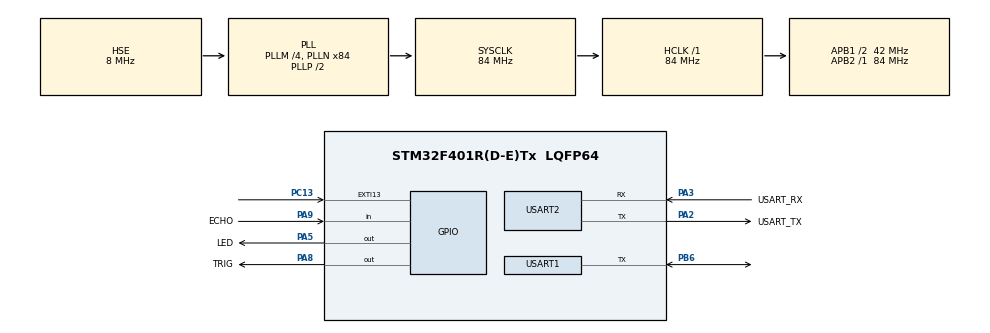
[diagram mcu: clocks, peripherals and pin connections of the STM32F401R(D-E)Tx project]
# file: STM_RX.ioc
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Mcu.Family=STM32F4
Mcu.Name=STM32F401R(D-E)Tx
Mcu.Package=LQFP64
NVIC.EXTI15_10_IRQn=true\:0\:0\:false\:false\:true\:true\:true\:true
NVIC.PriorityGroup=NVIC_PRIORITYGROUP_0
PA13.GPIO_Label=TMS
PA13.Mode=Serial_Wire
PA13.Signal=SYS_JTMS-SWDIO
PA14.GPIO_Label=TCK
PA14.Mode=Serial_Wire
PA14.Signal=SYS_JTCK-SWCLK
PA2.GPIO_Label=USART_TX
PA2.GPIO_Mode=GPIO_MODE_AF_PP
PA2.GPIO_PuPd=GPIO_NOPULL
PA2.GPIO_Speed=GPIO_SPEED_FREQ_LOW
PA2.Mode=Asynchronous
PA2.Signal=USART2_TX
PA3.GPIO_Label=USART_RX
PA3.GPIO_Mode=GPIO_MODE_AF_PP
PA3.GPIO_PuPd=GPIO_NOPULL
PA3.GPIO_Speed=GPIO_SPEED_FREQ_LOW
PA3.Mode=Asynchronous
PA3.Signal=USART2_RX
PA5.GPIO_Label=LED
PA5.GPIO_Mode=GPIO_MODE_OUTPUT_PP
PA5.GPIO_PuPd=GPIO_NOPULL
PA5.GPIO_Speed=GPIO_SPEED_FREQ_LOW
PA5.Signal=GPIO_Output
PA8.GPIO_Label=TRIG
PA8.Signal=GPIO_Output
PA9.GPIO_Label=ECHO
PA9.Signal=GPIO_Input
PB3.GPIO_Label=SWO
PB3.Signal=SYS_JTDO-SWO
PB6.GPIO_PuPd=GPIO_PULLUP
PB6.Mode=Half_duplex(single_wire_mode)
PB6.Signal=USART1_TX
PC13-ANTI_TAMP.GPIO_ModeDefaultEXTI=GPIO_MODE_IT_RISING
PC13-ANTI_TAMP.GPIO_PuPd=GPIO_PULLUP
PC13-ANTI_TAMP.Signal=GPXTI13
PC14-OSC32_IN.Signal=RCC_OSC32_IN
PC15-OSC32_OUT.Signal=RCC_OSC32_OUT
PH0\ -\ OSC_IN.Mode=HSE-External-Clock-Source
PH0\ -\ OSC_IN.Signal=RCC_OSC_IN
PH1\ -\ OSC_OUT.Mode=HSE-External-Clock-Source
PH1\ -\ OSC_OUT.Signal=RCC_OSC_OUT
ProjectManager.HeapSize=0x200
ProjectManager.StackSize=0x400
ProjectManager.TargetToolchain=STM32CubeIDE
RCC.48MHZClocksFreq_Value=24000000
RCC.AHBFreq_Value=84000000
RCC.APB1CLKDivider=RCC_HCLK_DIV2
RCC.APB1Freq_Value=42000000
RCC.APB1TimFreq_Value=84000000
RCC.APB2Freq_Value=84000000
RCC.APB2TimFreq_Value=84000000
RCC.CortexFreq_Value=84000000
RCC.HCLKFreq_Value=84000000
RCC.HSE_VALUE=8000000
RCC.HSI_VALUE=16000000
RCC.PLLM=4
RCC.PLLN=84
RCC.PLLQ=7
RCC.PLLSourceVirtual=RCC_PLLSOURCE_HSE
RCC.SYSCLKFreq_VALUE=84000000
RCC.SYSCLKSource=RCC_SYSCLKSOURCE_PLLCLK
RCC.VCOOutputFreq_Value=168000000
TIM4.Period=0
TIM4.Prescaler=84-1
USART1.VirtualMode=VM_ASYNC
USART2.VirtualMode=VM_ASYNC
VP_TIM4_VS_ClockSourceINT.Mode=Internal
board=NUCLEO-F401RE

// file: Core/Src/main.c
/* USER CODE BEGIN Header */
/**
 ******************************************************************************
 * @file           : main.c
 * @brief          : Main program body
 ******************************************************************************
 * @attention
 *
 * Copyright (c) 2024 STMicroelectronics.
 * All rights reserved.
 *
 * This software is licensed under terms that can be found in the LICENSE file
 * in the root directory of this software component.
 * If no LICENSE file comes with this software, it is provided AS-IS.
 *
 ******************************************************************************
 */
/* USER CODE END Header */
#include "main.h"
#include "stdio.h"
#include "stm32f4xx_hal.h"

#define usTIM TIM4

TIM_HandleTypeDef htim4;

UART_HandleTypeDef huart1;
UART_HandleTypeDef huart2;

uint8_t RxData[30];

int indx = 0;

uint8_t TxData[25];

int isClicked = 0;

void SystemClock_Config(void);
static void MX_GPIO_Init(void);
static void MX_USART2_UART_Init(void);
static void MX_TIM4_Init(void);
static void MX_USART1_UART_Init(void);

void usDelay(uint32_t uSec);

const float speedOfSound = 0.0343 / 2;

charuartBuf[100];

float currentDistance = 0.0f;

void HAL_UARTEx_RxEventCallback(UART_HandleTypeDef *huart, uint16_t Size) {

	HAL_UARTEx_ReceiveToIdle_IT(&huart1, RxData, 30);

}
void HAL_GPIO_EXTI_Callback(uint16_t GPIO_Pin) {
	if (GPIO_Pin == GPIO_PIN_13) {
		// Keep the button press logic intact if you need it elsewhere
		if (isClicked == 0) {
			isClicked = 1;
		}
	}

	// Replace the button logic with distance logic
	//if (currentDistance < 20.0f && isClicked == 0) {
	//isClicked = 1;  // Set to 1 when the condition is met
	//}

	//shaivi added code//

	/*if (currentDistance >= 20.0f && currentDistance < 40.0f
	 && isClicked == 0) {
	 isClicked = 2; // led off
	 }

	 else if (currentDistance >= 40.0f && currentDistance < 60.0f
	 && isClicked == 0) {
	 isClicked = 3; // fan on
	 }

	 else if (currentDistance >= 60.0f && currentDistance < 80.0f
	 && isClicked == 0) {
	 isClicked = 4; // fan off
	 }

	 else if (currentDistance >= 80.0f && currentDistance < 100.0f
	 && isClicked == 0) {
	 isClicked = 5; // door open
	 }

	 else if (currentDistance >= 100.0f && currentDistance < 120.0f
	 && isClicked == 0) {
	 isClicked = 6; // door close
	 }*/
}

int main(void) {

	/* MCU Configuration--------------------------------------------------------*/

	/* Reset of all peripherals, Initializes the Flash interface and the Systick. */
	HAL_Init();

	/* Configure the system clock */
	SystemClock_Config();

	/* Initialize all configured peripherals */
	MX_GPIO_Init();
	MX_USART2_UART_Init();
	MX_TIM4_Init();
	MX_USART1_UART_Init();

	/* USER CODE BEGIN 2 */

	HAL_HalfDuplex_EnableReceiver(&huart1);

	HAL_UARTEx_ReceiveToIdle_IT(&huart1, RxData, 30);

	/* USER CODE END 2 */

	/* Infinite loop */

	/* USER CODE BEGIN WHILE */

	while (1) {
		// Measure distance
		HAL_GPIO_WritePin(TRIG_GPIO_Port, TRIG_Pin, GPIO_PIN_RESET);
		usDelay(3);
		HAL_GPIO_WritePin(TRIG_GPIO_Port, TRIG_Pin, GPIO_PIN_SET);
		usDelay(10);
		HAL_GPIO_WritePin(TRIG_GPIO_Port, TRIG_Pin, GPIO_PIN_RESET);

		// Wait for the echo signal
		while (HAL_GPIO_ReadPin(ECHO_GPIO_Port, ECHO_Pin) == GPIO_PIN_RESET)
			;
		uint32_t numTicks = 0;
		while (HAL_GPIO_ReadPin(ECHO_GPIO_Port, ECHO_Pin) == GPIO_PIN_SET) {
			numTicks++;
			usDelay(2);
		}

		// Calculate distance
		currentDistance = (numTicks * 2.8 * 0.0343) / 2.0;

		// Trigger actions based on distance range
		if (isClicked == 0) {  // Only trigger if no action is in progress
			if (currentDistance < 20.0f) {
				isClicked = 1;  // Trigger logic for LED ON
			} else if (currentDistance >= 20.0f && currentDistance < 40.0f) {
				isClicked = 2;  // Trigger logic for LED OFF
			} else if (currentDistance >= 40.0f && currentDistance < 60.0f) {
				isClicked = 3;  // Trigger logic for FAN ON
			} else if (currentDistance >= 60.0f && currentDistance < 80.0f) {
				isClicked = 4;  // Trigger logic for FAN OFF
			} else if (currentDistance >= 80.0f && currentDistance < 100.0f) {
				isClicked = 5;  // Trigger logic for DOOR OPEN
			} else if (currentDistance >= 100.0f && currentDistance < 120.0f) {
				isClicked = 6;  // Trigger logic for DOOR CLOSE
			}
		}

		// Check and act if `isClicked` is set
		if (isClicked == 1) {
			// Transmit signal and perform action (LED ON)
			int len = sprintf((char*) TxData, "LED_ON");
			HAL_HalfDuplex_EnableTransmitter(&huart1);
			HAL_UART_Transmit(&huart1, TxData, len, 1000);
			HAL_HalfDuplex_EnableReceiver(&huart1);

			// Provide feedback with an LED
			HAL_GPIO_WritePin(GPIOA, LED_Pin, GPIO_PIN_SET);
			HAL_Delay(200);
			HAL_GPIO_WritePin(GPIOA, LED_Pin, GPIO_PIN_RESET);

			// Reset `isClicked` for the next trigger
			isClicked = 0;  // Allow the next action to be triggered
		} else if (isClicked == 2) {
			// Transmit signal and perform action (LED OFF)
			int len = sprintf((char*) TxData, "LED_OFF");
			HAL_HalfDuplex_EnableTransmitter(&huart1);
			HAL_UART_Transmit(&huart1, TxData, len, 1000);
			HAL_HalfDuplex_EnableReceiver(&huart1);

			// Provide feedback with an LED
			HAL_GPIO_WritePin(GPIOA, LED_Pin, GPIO_PIN_SET);
			HAL_Delay(200);
			HAL_GPIO_WritePin(GPIOA, LED_Pin, GPIO_PIN_RESET);

			// Reset `isClicked` for the next trigger
			isClicked = 0;
		} else if (isClicked == 3) {
			// Transmit signal and perform action (FAN ON)
			int len = sprintf((char*) TxData, "FAN_ON");
			HAL_HalfDuplex_EnableTransmitter(&huart1);
			HAL_UART_Transmit(&huart1, TxData, len, 1000);
			HAL_HalfDuplex_EnableReceiver(&huart1);

			// Provide feedback with an LED
			HAL_GPIO_WritePin(GPIOA, LED_Pin, GPIO_PIN_SET);
			HAL_Delay(200);
			HAL_GPIO_WritePin(GPIOA, LED_Pin, GPIO_PIN_RESET);

			// Reset `isClicked` for the next trigger
			isClicked = 0;
		} else if (isClicked == 4) {
			// Transmit signal and perform action (FAN OFF)
			int len = sprintf((char*) TxData, "FAN_OFF");
			HAL_HalfDuplex_EnableTransmitter(&huart1);
			HAL_UART_Transmit(&huart1, TxData, len, 1000);
			HAL_HalfDuplex_EnableReceiver(&huart1);

			// Provide feedback with an LED
			HAL_GPIO_WritePin(GPIOA, LED_Pin, GPIO_PIN_SET);
			HAL_Delay(200);
			HAL_GPIO_WritePin(GPIOA, LED_Pin, GPIO_PIN_RESET);

			// Reset `isClicked` for the next trigger
			isClicked = 0;
		} else if (isClicked == 5) {
			// Transmit signal and perform action (DOOR OPEN)
			int len = sprintf((char*) TxData, "SIGNAL_ON");
			HAL_HalfDuplex_EnableTransmitter(&huart1);
			HAL_UART_Transmit(&huart1, TxData, len, 1000);
			HAL_HalfDuplex_EnableReceiver(&huart1);

			// Provide feedback with an LED
			HAL_GPIO_WritePin(GPIOA, LED_Pin, GPIO_PIN_SET);
			HAL_Delay(200);
			HAL_GPIO_WritePin(GPIOA, LED_Pin, GPIO_PIN_RESET);

			// Reset `isClicked` for the next trigger
			isClicked = 0;
		} else if (isClicked == 6) {
			// Transmit signal and perform action (DOOR CLOSE)
			int len = sprintf((char*) TxData, "SIGNAL_OFF");
			HAL_HalfDuplex_EnableTransmitter(&huart1);
			HAL_UART_Transmit(&huart1, TxData, len, 1000);
			HAL_HalfDuplex_EnableReceiver(&huart1);

			// Provide feedback with an LED
			HAL_GPIO_WritePin(GPIOA, LED_Pin, GPIO_PIN_SET);
			HAL_Delay(200);
			HAL_GPIO_WritePin(GPIOA, LED_Pin, GPIO_PIN_RESET);

			// Reset `isClicked` for the next trigger
			isClicked = 0;
		}

		HAL_Delay(50);  // Small delay to avoid rapid toggling
	}
}
void SystemClock_Config(void) {
	RCC_OscInitTypeDef RCC_OscInitStruct = { 0 };
	RCC_ClkInitTypeDef RCC_ClkInitStruct = { 0 };

	/** Configure the main internal regulator output voltage
	 */
	__HAL_RCC_PWR_CLK_ENABLE();
	__HAL_PWR_VOLTAGESCALING_CONFIG(PWR_REGULATOR_VOLTAGE_SCALE2);

	/** Initializes the RCC Oscillators according to the specified parameters
	 * in the RCC_OscInitTypeDef structure.
	 */
	RCC_OscInitStruct.OscillatorType = RCC_OSCILLATORTYPE_HSE;
	RCC_OscInitStruct.HSEState = RCC_HSE_BYPASS;
	RCC_OscInitStruct.PLL.PLLState = RCC_PLL_ON;
	RCC_OscInitStruct.PLL.PLLSource = RCC_PLLSOURCE_HSE;
	RCC_OscInitStruct.PLL.PLLM = 4;
	RCC_OscInitStruct.PLL.PLLN = 84;
	RCC_OscInitStruct.PLL.PLLP = RCC_PLLP_DIV2;
	RCC_OscInitStruct.PLL.PLLQ = 7;
	if (HAL_RCC_OscConfig(&RCC_OscInitStruct) != HAL_OK) {
		Error_Handler();
	}

	/** Initializes the CPU, AHB and APB buses clocks
	 */
	RCC_ClkInitStruct.ClockType = RCC_CLOCKTYPE_HCLK | RCC_CLOCKTYPE_SYSCLK
			| RCC_CLOCKTYPE_PCLK1 | RCC_CLOCKTYPE_PCLK2;
	RCC_ClkInitStruct.SYSCLKSource = RCC_SYSCLKSOURCE_PLLCLK;
	RCC_ClkInitStruct.AHBCLKDivider = RCC_SYSCLK_DIV1;
	RCC_ClkInitStruct.APB1CLKDivider = RCC_HCLK_DIV2;
	RCC_ClkInitStruct.APB2CLKDivider = RCC_HCLK_DIV1;

	if (HAL_RCC_ClockConfig(&RCC_ClkInitStruct, FLASH_LATENCY_2) != HAL_OK) {
		Error_Handler();
	}
}
/* USER CODE BEGIN 4 */

void usDelay(uint32_t uSec) {

	if (uSec < 2)

		uSec = 2;

	usTIM->ARR = uSec - 1; /*sets the value in the auto-reload register*/

	usTIM->EGR = 1; /*Re-initialises the timer*/

	usTIM->SR &= ~1; 		//Resets the flag

	usTIM->CR1 |= 1; 		//Enables the counter

	while ((usTIM->SR & 0x0001) != 1)

		;

	usTIM->SR &= ~(0x0001);

}
/**
 * @brief TIM4 Initialization Function
 * @param None
 * @retval None
 */
static void MX_TIM4_Init(void) {

	/* USER CODE BEGIN TIM4_Init 0 */

	/* USER CODE END TIM4_Init 0 */

	TIM_ClockConfigTypeDef sClockSourceConfig = { 0 };
	TIM_MasterConfigTypeDef sMasterConfig = { 0 };

	/* USER CODE BEGIN TIM4_Init 1 */

	/* USER CODE END TIM4_Init 1 */
	htim4.Instance = TIM4;
	htim4.Init.Prescaler = 84 - 1;
	htim4.Init.CounterMode = TIM_COUNTERMODE_UP;
	htim4.Init.Period = 0;
	htim4.Init.ClockDivision = TIM_CLOCKDIVISION_DIV1;
	htim4.Init.AutoReloadPreload = TIM_AUTORELOAD_PRELOAD_DISABLE;
	if (HAL_TIM_Base_Init(&htim4) != HAL_OK) {
		Error_Handler();
	}
	sClockSourceConfig.ClockSource = TIM_CLOCKSOURCE_INTERNAL;
	if (HAL_TIM_ConfigClockSource(&htim4, &sClockSourceConfig) != HAL_OK) {
		Error_Handler();
	}
	sMasterConfig.MasterOutputTrigger = TIM_TRGO_RESET;
	sMasterConfig.MasterSlaveMode = TIM_MASTERSLAVEMODE_DISABLE;
	if (HAL_TIMEx_MasterConfigSynchronization(&htim4, &sMasterConfig)
			!= HAL_OK) {
		Error_Handler();
	}
	/* USER CODE BEGIN TIM4_Init 2 */

	/* USER CODE END TIM4_Init 2 */

}

/**
 * @brief USART1 Initialization Function
 * @param None
 * @retval None
 */
static void MX_USART1_UART_Init(void) {

	/* USER CODE BEGIN USART1_Init 0 */

	/* USER CODE END USART1_Init 0 */

	/* USER CODE BEGIN USART1_Init 1 */

	/* USER CODE END USART1_Init 1 */
	huart1.Instance = USART1;
	huart1.Init.BaudRate = 115200;
	huart1.Init.WordLength = UART_WORDLENGTH_8B;
	huart1.Init.StopBits = UART_STOPBITS_1;
	huart1.Init.Parity = UART_PARITY_NONE;
	huart1.Init.Mode = UART_MODE_TX_RX;
	huart1.Init.HwFlowCtl = UART_HWCONTROL_NONE;
	huart1.Init.OverSampling = UART_OVERSAMPLING_16;
	if (HAL_HalfDuplex_Init(&huart1) != HAL_OK) {
		Error_Handler();
	}
	/* USER CODE BEGIN USART1_Init 2 */

	/* USER CODE END USART1_Init 2 */

}

/**
 * @brief USART2 Initialization Function
 * @param None
 * @retval None
 */
static void MX_USART2_UART_Init(void) {

	/* USER CODE BEGIN USART2_Init 0 */

	/* USER CODE END USART2_Init 0 */

	/* USER CODE BEGIN USART2_Init 1 */

	/* USER CODE END USART2_Init 1 */
	huart2.Instance = USART2;
	huart2.Init.BaudRate = 115200;
	huart2.Init.WordLength = UART_WORDLENGTH_8B;
	huart2.Init.StopBits = UART_STOPBITS_1;
	huart2.Init.Parity = UART_PARITY_NONE;
	huart2.Init.Mode = UART_MODE_TX_RX;
	huart2.Init.HwFlowCtl = UART_HWCONTROL_NONE;
	huart2.Init.OverSampling = UART_OVERSAMPLING_16;
	if (HAL_UART_Init(&huart2) != HAL_OK) {
		Error_Handler();
	}
	/* USER CODE BEGIN USART2_Init 2 */

	/* USER CODE END USART2_Init 2 */

}

/**
 * @brief GPIO Initialization Function
 * @param None
 * @retval None
 */
static void MX_GPIO_Init(void) {
	GPIO_InitTypeDef GPIO_InitStruct = { 0 };
	/* USER CODE BEGIN MX_GPIO_Init_1 */
	/* USER CODE END MX_GPIO_Init_1 */

	/* GPIO Ports Clock Enable */
	__HAL_RCC_GPIOC_CLK_ENABLE();
	__HAL_RCC_GPIOH_CLK_ENABLE();
	__HAL_RCC_GPIOA_CLK_ENABLE();
	__HAL_RCC_GPIOB_CLK_ENABLE();

	/*Configure GPIO pin Output Level */
	HAL_GPIO_WritePin(GPIOA, LED_Pin | TRIG_Pin, GPIO_PIN_RESET);

	/*Configure GPIO pin : PC13 */
	GPIO_InitStruct.Pin = GPIO_PIN_13;
	GPIO_InitStruct.Mode = GPIO_MODE_IT_RISING;
	GPIO_InitStruct.Pull = GPIO_PULLUP;
	HAL_GPIO_Init(GPIOC, &GPIO_InitStruct);

	/*Configure GPIO pins : LED_Pin TRIG_Pin */
	GPIO_InitStruct.Pin = LED_Pin | TRIG_Pin;
	GPIO_InitStruct.Mode = GPIO_MODE_OUTPUT_PP;
	GPIO_InitStruct.Pull = GPIO_NOPULL;
	GPIO_InitStruct.Speed = GPIO_SPEED_FREQ_LOW;
	HAL_GPIO_Init(GPIOA, &GPIO_InitStruct);

	/*Configure GPIO pin : ECHO_Pin */
	GPIO_InitStruct.Pin = ECHO_Pin;
	GPIO_InitStruct.Mode = GPIO_MODE_INPUT;
	GPIO_InitStruct.Pull = GPIO_NOPULL;
	HAL_GPIO_Init(ECHO_GPIO_Port, &GPIO_InitStruct);

	/* EXTI interrupt init*/
	HAL_NVIC_SetPriority(EXTI15_10_IRQn, 0, 0);
	HAL_NVIC_EnableIRQ(EXTI15_10_IRQn);

	/* USER CODE BEGIN MX_GPIO_Init_2 */
	/* USER CODE END MX_GPIO_Init_2 */
}

/* USER CODE BEGIN 4 */

/* USER CODE END 4 */

void Error_Handler(void) {
	__disable_irq();
	while (1) {
	}
}
